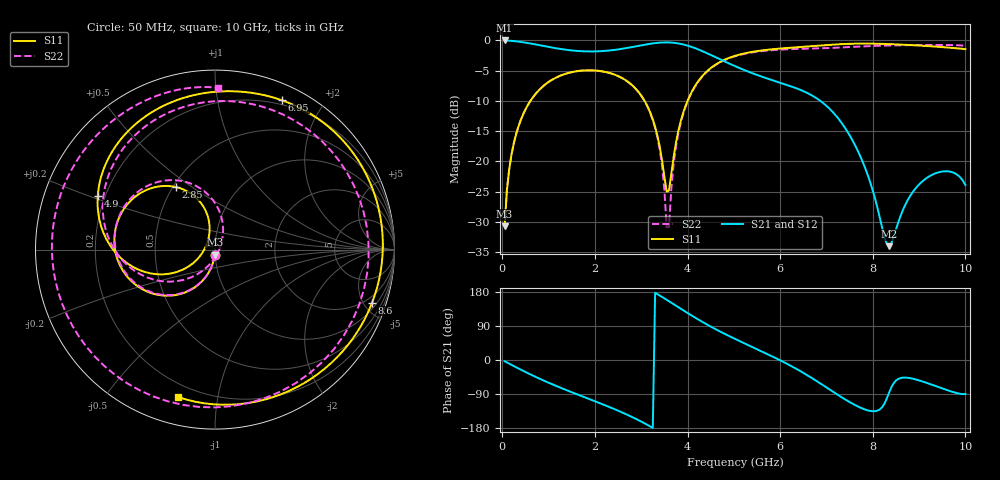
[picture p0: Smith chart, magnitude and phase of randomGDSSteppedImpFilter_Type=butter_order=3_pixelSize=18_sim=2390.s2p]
! freq	dB(S11)	phase(S11)	dB(S12)	phase(S12)
!  dB(S21)	phase(S21)	dB(S22)	phase(S22)
!S-par simulation data
#  GHz  S  DB  R 50
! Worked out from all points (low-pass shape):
!   200 points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, 50 MHz to 10 GHz, reference 50 ohm
!   highest |S21| = -0.01 dB at 50 MHz (marker M1); lowest = -34.0 dB at 8.35 GHz (marker M2)
!   |S21| within 3 dB of the highest: start of sweep to 4.67 GHz
!   lowest |S11| = -30.7 dB at 50 MHz (marker M3), VSWR 1.06, Z = 49.7 - j2.89 ohm
!   |S11| at or under -10 dB: start of sweep to 608 MHz; 3.071 GHz to 4 GHz (928.1 MHz wide, 26.3 % of centre)
!   |S22| runs from -30.9 to -0.8 dB; largest |S21 - S12| = 0
!   S11 on the Smith chart (normalised r, x): 50 MHz: 0.99, -0.06; 2.85 GHz: 0.52, +0.43; 4.9 GHz: 0.17, +0.21; 6.95 GHz: 0.16, +1.53; 8.6 GHz: 1.42, -5.75; 10 GHz: 0.13, -0.77
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0.05  -30.73 -93.4  -0.01 -3.3  -0.01 -3.3  -30.73 -93.5
0.2  -18.83 -103.4  -0.08 -13.0  -0.08 -13.0  -18.83 -103.6
0.5  -11.43 -121.9  -0.37 -31.7  -0.37 -31.7  -11.43 -122.5
1.75  -4.97 173.9  -1.80 -97.0  -1.80 -97.0  -4.97 171.3
2.85  -7.75 121.9  -1.03 -153.2  -1.03 -153.2  -7.77 113.0
3.4  -17.58 103.1  -0.37 170.1  -0.37 170.1  -18.09 68.7
3.55  -25.01 142.0  -0.33 158.9  -0.33 158.9  -30.93 15.7
3.6  -24.81 175.5  -0.34 155.0  -0.34 155.0  -30.87 -66.4
3.75  -16.94 -148.3  -0.44 143.4  -0.44 143.4  -17.62 -119.5
3.95  -10.98 -151.8  -0.75 127.9  -0.75 127.9  -11.18 -140.4
4.9  -2.88 155.5  -3.83 63.1  -3.83 63.1  -2.95 148.4
5.05  -2.49 148.1  -4.34 54.3  -4.34 54.3  -2.57 138.6
5.95  -1.38 108.2  -6.88 2.3  -6.88 2.3  -1.55 75.8
6.7  -0.94 76.8  -9.16 -48.8  -9.16 -48.8  -1.35 2.9
6.95  -0.80 65.8  -10.50 -68.4  -10.50 -68.4  -1.30 -27.4
7.25  -0.65 51.9  -12.87 -92.4  -12.87 -92.4  -1.20 -65.4
7.55  -0.55 37.2  -16.37 -114.5  -16.37 -114.5  -1.08 -101.6
7.95  -0.53 16.7  -23.61 -134.5  -23.61 -134.5  -0.93 -143.0
8.35  -0.61 -4.8  -34.03 -86.8  -34.03 -86.8  -0.84 -176.1
8.6  -0.69 -18.7  -29.03 -47.7  -29.03 -47.7  -0.80 166.5
9.3  -1.00 -59.4  -22.16 -66.2  -22.16 -66.2  -0.75 126.2
10  -1.45 -104.1  -23.91 -89.6  -23.91 -89.6  -0.90 89.0
